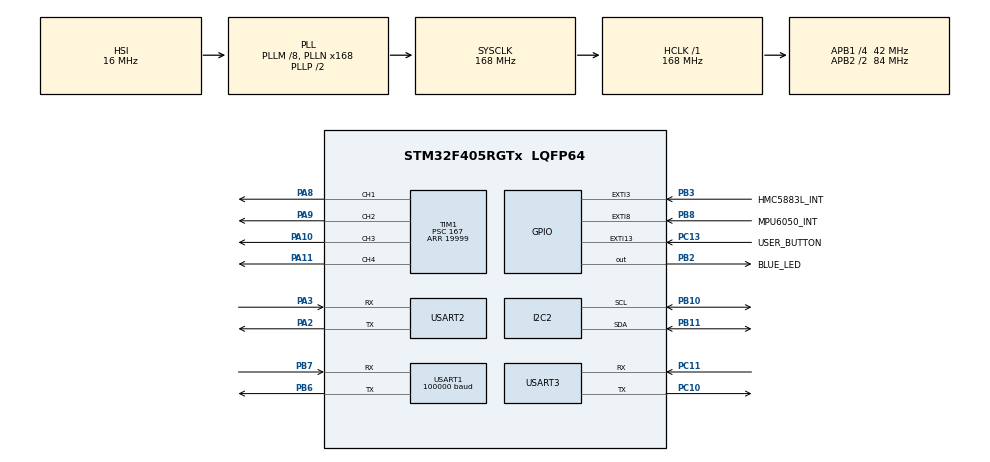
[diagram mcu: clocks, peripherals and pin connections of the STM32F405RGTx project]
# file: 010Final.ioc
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Dma.Request0=USART1_RX
Dma.USART1_RX.0.Direction=DMA_PERIPH_TO_MEMORY
Dma.USART1_RX.0.FIFOMode=DMA_FIFOMODE_DISABLE
Dma.USART1_RX.0.Instance=DMA2_Stream2
Dma.USART1_RX.0.MemDataAlignment=DMA_MDATAALIGN_BYTE
Dma.USART1_RX.0.MemInc=DMA_MINC_ENABLE
Dma.USART1_RX.0.Mode=DMA_NORMAL
Dma.USART1_RX.0.PeriphDataAlignment=DMA_PDATAALIGN_BYTE
Dma.USART1_RX.0.PeriphInc=DMA_PINC_DISABLE
Dma.USART1_RX.0.Priority=DMA_PRIORITY_HIGH
Mcu.Family=STM32F4
Mcu.Name=STM32F405RGTx
Mcu.Package=LQFP64
NVIC.DMA2_Stream2_IRQn=true\:0\:0\:false\:false\:true\:false\:true\:true
NVIC.EXTI15_10_IRQn=true\:3\:0\:true\:false\:true\:true\:true\:true
NVIC.EXTI9_5_IRQn=true\:2\:0\:true\:false\:true\:true\:true\:true
NVIC.PriorityGroup=NVIC_PRIORITYGROUP_4
NVIC.USART1_IRQn=true\:2\:0\:true\:false\:true\:true\:true\:true
NVIC.USART2_IRQn=true\:1\:0\:true\:false\:true\:true\:true\:true
PA10.Signal=S_TIM1_CH3
PA11.Signal=S_TIM1_CH4
PA13.Mode=Serial_Wire
PA13.Signal=SYS_JTMS-SWDIO
PA14.Mode=Serial_Wire
PA14.Signal=SYS_JTCK-SWCLK
PA2.Mode=Asynchronous
PA2.Signal=USART2_TX
PA3.Mode=Asynchronous
PA3.Signal=USART2_RX
PA8.Signal=S_TIM1_CH1
PA9.Signal=S_TIM1_CH2
PB10.Mode=I2C
PB10.Signal=I2C2_SCL
PB11.Mode=I2C
PB11.Signal=I2C2_SDA
PB2.GPIO_Label=BLUE_LED
PB2.PinState=GPIO_PIN_RESET
PB2.Signal=GPIO_Output
PB3.GPIO_Label=HMC5883L_INT
PB3.Signal=GPXTI3
PB6.Mode=Asynchronous
PB6.Signal=USART1_TX
PB7.Mode=Asynchronous
PB7.Signal=USART1_RX
PB8.GPIO_Label=MPU6050_INT
PB8.GPIO_PuPd=GPIO_PULLDOWN
PB8.Signal=GPXTI8
PC10.Mode=Asynchronous
PC10.Signal=USART3_TX
PC11.Mode=Asynchronous
PC11.Signal=USART3_RX
PC13-ANTI_TAMP.GPIO_Label=USER_BUTTON
PC13-ANTI_TAMP.GPIO_PuPd=GPIO_PULLDOWN
PC13-ANTI_TAMP.Signal=GPXTI13
PC14-OSC32_IN.Mode=LSE-External-Oscillator
PC14-OSC32_IN.Signal=RCC_OSC32_IN
PC15-OSC32_OUT.Mode=LSE-External-Oscillator
PC15-OSC32_OUT.Signal=RCC_OSC32_OUT
PH0-OSC_IN.Mode=HSE-External-Oscillator
PH0-OSC_IN.Signal=RCC_OSC_IN
PH1-OSC_OUT.Mode=HSE-External-Oscillator
PH1-OSC_OUT.Signal=RCC_OSC_OUT
ProjectManager.HeapSize=0x200
ProjectManager.StackSize=0x400
ProjectManager.TargetToolchain=STM32CubeIDE
RCC.48MHZClocksFreq_Value=84000000
RCC.AHBFreq_Value=168000000
RCC.APB1CLKDivider=RCC_HCLK_DIV4
RCC.APB1Freq_Value=42000000
RCC.APB1TimFreq_Value=84000000
RCC.APB2CLKDivider=RCC_HCLK_DIV2
RCC.APB2Freq_Value=84000000
RCC.APB2TimFreq_Value=168000000
RCC.CortexFreq_Value=168000000
RCC.HCLKFreq_Value=168000000
RCC.HSE_VALUE=8000000
RCC.HSI_VALUE=16000000
RCC.PLLM=8
RCC.PLLN=168
RCC.SYSCLKFreq_VALUE=168000000
RCC.SYSCLKSource=RCC_SYSCLKSOURCE_PLLCLK
RCC.VCOOutputFreq_Value=336000000
SH.S_TIM1_CH1.0=TIM1_CH1,PWM Generation1 CH1
SH.S_TIM1_CH2.0=TIM1_CH2,PWM Generation2 CH2
SH.S_TIM1_CH3.0=TIM1_CH3,PWM Generation3 CH3
SH.S_TIM1_CH4.0=TIM1_CH4,PWM Generation4 CH4
TIM1.AutoReloadPreload=TIM_AUTORELOAD_PRELOAD_ENABLE
TIM1.Channel-PWM\ Generation1\ CH1=TIM_CHANNEL_1
TIM1.Channel-PWM\ Generation2\ CH2=TIM_CHANNEL_2
TIM1.Channel-PWM\ Generation3\ CH3=TIM_CHANNEL_3
TIM1.Channel-PWM\ Generation4\ CH4=TIM_CHANNEL_4
TIM1.Period=19999
TIM1.Prescaler=167
TIM3.Period=999
TIM3.Prescaler=83
USART1.BaudRate=100000
USART1.Mode=MODE_RX
USART1.Parity=PARITY_EVEN
USART1.StopBits=STOPBITS_2
USART1.VirtualMode=VM_ASYNC
USART1.WordLength=WORDLENGTH_9B
USART2.VirtualMode=VM_ASYNC
USART3.VirtualMode=VM_ASYNC
VP_TIM1_VS_ClockSourceINT.Mode=Internal
VP_TIM3_VS_ClockSourceINT.Mode=Internal
board=custom

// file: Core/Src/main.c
/* USER CODE BEGIN Header */
/**
  ******************************************************************************
  * @file           : main.c
  * @brief          : Main program body
  ******************************************************************************
  * @attention
  *
  * Copyright (c) 2026 STMicroelectronics.
  * All rights reserved.
  *
  * This software is licensed under terms that can be found in the LICENSE file
  * in the root directory of this software component.
  * If no LICENSE file comes with this software, it is provided AS-IS.
  *
  ******************************************************************************
  */
/* USER CODE END Header */
#include "main.h"

/* USER CODE BEGIN Includes */

#include "MPU6050.h"
#include "kalman.h"
#include "SBUS.h"
#include "ESC.h"
#include "Motor.h"
#include "PID.h"
#include "rate_control.h"
#include "drone.h"
//#include "app_callback.h"

/* USER CODE END Includes */

/* USER CODE BEGIN PTD */

//#define ESC_CALIB
#define PID_SETTING
#define UART2_RX_BUFFER_SIZE 32
/* USER CODE END PTD */

I2C_HandleTypeDef hi2c2;

TIM_HandleTypeDef htim1;
TIM_HandleTypeDef htim3;

UART_HandleTypeDef huart1;
UART_HandleTypeDef huart2;
UART_HandleTypeDef huart3;
DMA_HandleTypeDef hdma_usart1_rx;

/* USER CODE BEGIN PV */

/*======================= MPU6050 global variables ================== */
int32_t raw_gyroscope_data[3];
MPU6050_Handle_t	MPU6050_handle;

/*=======================  SBUS global variables ==================== */
uint8_t SBUS_raw_data_rx[SBUS_FRAME_LEN_BYTE];
uint16_t channel[SBUS_CHANNEL_NUM];
RC_command_t rc_command;

/*=======================  Motor global variables ====================*/
MOTOR_Handle_t motor_handle[4];

#ifdef ESC_CALIB
Motor_ID_t motor_id;
uint8_t switch_motor_flag = 0;
uint32_t pwm_set;
#endif

/*======================= generic global variables ===================*/
Drone_handle_t	drone_handle;
PID_parameter_t pid_parameter_pitch;
PID_parameter_t pid_parameter_roll;
PID_parameter_t pid_parameter_yaw;

PID_input_t		pid_input;
uint8_t 		receive_flag;

uint8_t uart2_rx_byte;
uint8_t pid_setting_done;
char uart2_rx_buffer[UART2_RX_BUFFER_SIZE];
uint8_t uart2_rx_index = 0;

PID_parameter_t *current_pid = NULL;

/* USER CODE END PV */

void SystemClock_Config(void);
static void MX_GPIO_Init(void);
static void MX_DMA_Init(void);
static void MX_I2C2_Init(void);
static void MX_TIM1_Init(void);
static void MX_USART1_UART_Init(void);
static void MX_USART2_UART_Init(void);
static void MX_USART3_UART_Init(void);
static void MX_TIM3_Init(void);
/* USER CODE BEGIN PFP */
void mprint(const char *fmt, ...)
{
    char buffer[256];

    va_list args;
    va_start(args, fmt);

    vsnprintf(buffer, sizeof(buffer), fmt, args);

    HAL_UART_Transmit(&huart2,(uint8_t *)buffer, strlen(buffer),HAL_MAX_DELAY);

    va_end(args);
}

void PID_setting(void)
{
    uart2_rx_index = 0;
    pid_setting_done = 0;

    current_pid = &pid_parameter_pitch;
	LOG("======================PID setting===================\n");

    LOG("Pitch P I D: ");

    HAL_UART_Receive_IT(&huart2,&uart2_rx_byte,1);
}
/* USER CODE END PFP */

int main(void)
{

  /* MCU Configuration--------------------------------------------------------*/

  /* Reset of all peripherals, Initializes the Flash interface and the Systick. */
  HAL_Init();

  /* Configure the system clock */
  SystemClock_Config();

  /* Initialize all configured peripherals */
  MX_GPIO_Init();
  MX_DMA_Init();
  MX_I2C2_Init();
  MX_TIM1_Init();
  MX_USART1_UART_Init();
  MX_USART2_UART_Init();
  MX_USART3_UART_Init();
  MX_TIM3_Init();
  /* USER CODE BEGIN 2 */
  /*============================= Drone initialize ==========================*/

  drone_init(&drone_handle, motor_handle, &MPU6050_handle);

  /*=========================== Motor initialize   ==========================*/

  motor_init(motor_handle, &htim1);

  /*=========================== MPU6050 initialize ==========================*/

  if(mpu6050_init(&MPU6050_handle, &hi2c2 ,MPU6050_ADDR) != MPU6050_OK)
  {
	  drone_handle.status = DRONE_ERROR;
	  drone_handle.drone_armed = false;
	  drone_handle.error_code = ERROR_MPU_INIT;
	  Error_Handler();
  }
  /*============================= ESC initialize ============================*/

  if(esc_init(&htim1) != ESC_OK)
  {
	  drone_handle.status = DRONE_ERROR;
	  drone_handle.drone_armed = false;
	  drone_handle.error_code = ERROR_ESC_INIT;
	  Error_Handler();
  }

  /*============================= Drone configurate ==========================*/
 drone_config(&drone_handle);

  /*============================= PID setting ================================*/

  pid_parameter_pitch.p = 0.001f;
  pid_parameter_pitch.i = 0.001f;
  pid_parameter_pitch.d	= 0.0001f;

  pid_parameter_roll.p = 0.001f;
  pid_parameter_roll.i = 0.001f;
  pid_parameter_roll.d	= 0.0001f;

  pid_parameter_yaw.p = 0.001f;
  pid_parameter_yaw.i = 0.001f;
  pid_parameter_yaw.d	= 0.0f;

  static uint32_t current_tick;
  current_tick = HAL_GetTick();
  LOG("press user button to trigger PID setting \n");
  LOG("timeout: 5s\n");
  while((HAL_GetTick() - current_tick) <= 5000 )
  {
	  if(HAL_GPIO_ReadPin(GPIOC, GPIO_PIN_13)==GPIO_PIN_SET)
		  {
		  LOG("PID setting mode required detected!\n ");

		  PID_setting();
		  while(current_pid!=NULL);
		  }
  }
LOG("\nPID parameter:\n");
LOG("Pitch: %0.3f %0.3f %0.3f \n",pid_parameter_pitch.p,pid_parameter_pitch.i ,pid_parameter_pitch.d);
LOG("Roll : %0.3f %0.3f %0.3f \n",pid_parameter_roll.p,pid_parameter_roll.i ,pid_parameter_roll.d);
LOG("Yaw  : %0.3f %0.3f %0.3f \n",pid_parameter_yaw.p,pid_parameter_yaw.i ,pid_parameter_yaw.d);

for(uint8_t i = 0; i<= 2; i++)
{
	pid_input.prev_Iterm[i] = 0;
	pid_input.rate_error[i] = 0;
	pid_input.prev_rate_error[i] = 0;
}

  /*============================= SBUS initialize ============================*/

  __disable_irq();
  if(SBUS_init(&huart1, SBUS_raw_data_rx)!= SBUS_OK)
  {
	  __enable_irq();
	  drone_handle.status = DRONE_ERROR;
	  drone_handle.drone_armed = false;
	  drone_handle.error_code = ERROR_SBUS_INIT;
	  Error_Handler();
  }
  __enable_irq();

  drone_handle.pre_status = drone_handle.status;
  drone_handle.status = DRONE_INIT_SUCCESS;

#ifdef ESC_CALIB
  motor_id = MOTOR_1;
  mprint("motor %d in calibration\n", (motor_id+1));
#endif

  /* USER CODE END 2 */

  /* Infinite loop */
  /* USER CODE BEGIN WHILE */
  while (1)
  {

		  switch (drone_handle.status)
	{
		  case(DRONE_INIT):
				  break;

		  case(DRONE_INIT_SUCCESS):
			  if(receive_flag)
			  {
				  receive_flag = 0;
				  drone_check_arm_signal(&drone_handle);
				  break;
			  }
		  	  break;
		  case(DRONE_ARMED):
				  drone_armed(&drone_handle);
			break;
		  case(DRONE_READY_TO_FLY):
				  drone_is_ready_to_fly(&drone_handle);
				  current_tick = HAL_GetTick();
		  case(DRONE_FLYING):
				  if(HAL_GetTick() - current_tick > 4)
				  {
					  current_tick = HAL_GetTick();
					  drone_flying_loop(&drone_handle);
				  }
			break;
		  case(DRONE_ERROR):
		  case(DRONE_FAILSAFE):
			break;
	  }
    /* USER CODE END WHILE */

	  }
}

void SystemClock_Config(void)
{
  RCC_OscInitTypeDef RCC_OscInitStruct = {0};
  RCC_ClkInitTypeDef RCC_ClkInitStruct = {0};

  /** Configure the main internal regulator output voltage
  */
  __HAL_RCC_PWR_CLK_ENABLE();
  __HAL_PWR_VOLTAGESCALING_CONFIG(PWR_REGULATOR_VOLTAGE_SCALE1);

  /** Initializes the RCC Oscillators according to the specified parameters
  * in the RCC_OscInitTypeDef structure.
  */
  RCC_OscInitStruct.OscillatorType = RCC_OSCILLATORTYPE_HSI;
  RCC_OscInitStruct.HSIState = RCC_HSI_ON;
  RCC_OscInitStruct.HSICalibrationValue = RCC_HSICALIBRATION_DEFAULT;
  RCC_OscInitStruct.PLL.PLLState = RCC_PLL_ON;
  RCC_OscInitStruct.PLL.PLLSource = RCC_PLLSOURCE_HSI;
  RCC_OscInitStruct.PLL.PLLM = 8;
  RCC_OscInitStruct.PLL.PLLN = 168;
  RCC_OscInitStruct.PLL.PLLP = RCC_PLLP_DIV2;
  RCC_OscInitStruct.PLL.PLLQ = 4;
  if (HAL_RCC_OscConfig(&RCC_OscInitStruct) != HAL_OK)
  {
    Error_Handler();
  }

  /** Initializes the CPU, AHB and APB buses clocks
  */
  RCC_ClkInitStruct.ClockType = RCC_CLOCKTYPE_HCLK|RCC_CLOCKTYPE_SYSCLK
                              |RCC_CLOCKTYPE_PCLK1|RCC_CLOCKTYPE_PCLK2;
  RCC_ClkInitStruct.SYSCLKSource = RCC_SYSCLKSOURCE_PLLCLK;
  RCC_ClkInitStruct.AHBCLKDivider = RCC_SYSCLK_DIV1;
  RCC_ClkInitStruct.APB1CLKDivider = RCC_HCLK_DIV4;
  RCC_ClkInitStruct.APB2CLKDivider = RCC_HCLK_DIV2;

  if (HAL_RCC_ClockConfig(&RCC_ClkInitStruct, FLASH_LATENCY_5) != HAL_OK)
  {
    Error_Handler();
  }
}

static void MX_I2C2_Init(void)
{

  hi2c2.Instance = I2C2;
  hi2c2.Init.ClockSpeed = 100000;
  hi2c2.Init.DutyCycle = I2C_DUTYCYCLE_2;
  hi2c2.Init.OwnAddress1 = 0;
  hi2c2.Init.AddressingMode = I2C_ADDRESSINGMODE_7BIT;
  hi2c2.Init.DualAddressMode = I2C_DUALADDRESS_DISABLE;
  hi2c2.Init.OwnAddress2 = 0;
  hi2c2.Init.GeneralCallMode = I2C_GENERALCALL_DISABLE;
  hi2c2.Init.NoStretchMode = I2C_NOSTRETCH_DISABLE;
  if (HAL_I2C_Init(&hi2c2) != HAL_OK)
  {
    Error_Handler();
  }

}

static void MX_TIM1_Init(void)
{

  TIM_ClockConfigTypeDef sClockSourceConfig = {0};
  TIM_MasterConfigTypeDef sMasterConfig = {0};
  TIM_OC_InitTypeDef sConfigOC = {0};
  TIM_BreakDeadTimeConfigTypeDef sBreakDeadTimeConfig = {0};

  htim1.Instance = TIM1;
  htim1.Init.Prescaler = 167;
  htim1.Init.CounterMode = TIM_COUNTERMODE_UP;
  htim1.Init.Period = 19999;
  htim1.Init.ClockDivision = TIM_CLOCKDIVISION_DIV1;
  htim1.Init.RepetitionCounter = 0;
  htim1.Init.AutoReloadPreload = TIM_AUTORELOAD_PRELOAD_ENABLE;
  if (HAL_TIM_Base_Init(&htim1) != HAL_OK)
  {
    Error_Handler();
  }
  sClockSourceConfig.ClockSource = TIM_CLOCKSOURCE_INTERNAL;
  if (HAL_TIM_ConfigClockSource(&htim1, &sClockSourceConfig) != HAL_OK)
  {
    Error_Handler();
  }
  if (HAL_TIM_PWM_Init(&htim1) != HAL_OK)
  {
    Error_Handler();
  }
  sMasterConfig.MasterOutputTrigger = TIM_TRGO_RESET;
  sMasterConfig.MasterSlaveMode = TIM_MASTERSLAVEMODE_DISABLE;
  if (HAL_TIMEx_MasterConfigSynchronization(&htim1, &sMasterConfig) != HAL_OK)
  {
    Error_Handler();
  }
  sConfigOC.OCMode = TIM_OCMODE_PWM1;
  sConfigOC.Pulse = 0;
  sConfigOC.OCPolarity = TIM_OCPOLARITY_HIGH;
  sConfigOC.OCNPolarity = TIM_OCNPOLARITY_HIGH;
  sConfigOC.OCFastMode = TIM_OCFAST_DISABLE;
  sConfigOC.OCIdleState = TIM_OCIDLESTATE_RESET;
  sConfigOC.OCNIdleState = TIM_OCNIDLESTATE_RESET;
  if (HAL_TIM_PWM_ConfigChannel(&htim1, &sConfigOC, TIM_CHANNEL_1) != HAL_OK)
  {
    Error_Handler();
  }
  if (HAL_TIM_PWM_ConfigChannel(&htim1, &sConfigOC, TIM_CHANNEL_2) != HAL_OK)
  {
    Error_Handler();
  }
  if (HAL_TIM_PWM_ConfigChannel(&htim1, &sConfigOC, TIM_CHANNEL_3) != HAL_OK)
  {
    Error_Handler();
  }
  if (HAL_TIM_PWM_ConfigChannel(&htim1, &sConfigOC, TIM_CHANNEL_4) != HAL_OK)
  {
    Error_Handler();
  }
  sBreakDeadTimeConfig.OffStateRunMode = TIM_OSSR_DISABLE;
  sBreakDeadTimeConfig.OffStateIDLEMode = TIM_OSSI_DISABLE;
  sBreakDeadTimeConfig.LockLevel = TIM_LOCKLEVEL_OFF;
  sBreakDeadTimeConfig.DeadTime = 0;
  sBreakDeadTimeConfig.BreakState = TIM_BREAK_DISABLE;
  sBreakDeadTimeConfig.BreakPolarity = TIM_BREAKPOLARITY_HIGH;
  sBreakDeadTimeConfig.AutomaticOutput = TIM_AUTOMATICOUTPUT_DISABLE;
  if (HAL_TIMEx_ConfigBreakDeadTime(&htim1, &sBreakDeadTimeConfig) != HAL_OK)
  {
    Error_Handler();
  }
  HAL_TIM_MspPostInit(&htim1);

}

static void MX_TIM3_Init(void)
{

  TIM_ClockConfigTypeDef sClockSourceConfig = {0};
  TIM_MasterConfigTypeDef sMasterConfig = {0};

  htim3.Instance = TIM3;
  htim3.Init.Prescaler = 83;
  htim3.Init.CounterMode = TIM_COUNTERMODE_UP;
  htim3.Init.Period = 999;
  htim3.Init.ClockDivision = TIM_CLOCKDIVISION_DIV1;
  htim3.Init.AutoReloadPreload = TIM_AUTORELOAD_PRELOAD_DISABLE;
  if (HAL_TIM_Base_Init(&htim3) != HAL_OK)
  {
    Error_Handler();
  }
  sClockSourceConfig.ClockSource = TIM_CLOCKSOURCE_INTERNAL;
  if (HAL_TIM_ConfigClockSource(&htim3, &sClockSourceConfig) != HAL_OK)
  {
    Error_Handler();
  }
  sMasterConfig.MasterOutputTrigger = TIM_TRGO_RESET;
  sMasterConfig.MasterSlaveMode = TIM_MASTERSLAVEMODE_DISABLE;
  if (HAL_TIMEx_MasterConfigSynchronization(&htim3, &sMasterConfig) != HAL_OK)
  {
    Error_Handler();
  }

}

static void MX_USART1_UART_Init(void)
{

  huart1.Instance = USART1;
  huart1.Init.BaudRate = 100000;
  huart1.Init.WordLength = UART_WORDLENGTH_9B;
  huart1.Init.StopBits = UART_STOPBITS_2;
  huart1.Init.Parity = UART_PARITY_EVEN;
  huart1.Init.Mode = UART_MODE_RX;
  huart1.Init.HwFlowCtl = UART_HWCONTROL_NONE;
  huart1.Init.OverSampling = UART_OVERSAMPLING_16;
  if (HAL_UART_Init(&huart1) != HAL_OK)
  {
    Error_Handler();
  }

}

static void MX_USART2_UART_Init(void)
{

  huart2.Instance = USART2;
  huart2.Init.BaudRate = 115200;
  huart2.Init.WordLength = UART_WORDLENGTH_8B;
  huart2.Init.StopBits = UART_STOPBITS_1;
  huart2.Init.Parity = UART_PARITY_NONE;
  huart2.Init.Mode = UART_MODE_TX_RX;
  huart2.Init.HwFlowCtl = UART_HWCONTROL_NONE;
  huart2.Init.OverSampling = UART_OVERSAMPLING_16;
  if (HAL_UART_Init(&huart2) != HAL_OK)
  {
    Error_Handler();
  }

}

static void MX_USART3_UART_Init(void)
{

  huart3.Instance = USART3;
  huart3.Init.BaudRate = 115200;
  huart3.Init.WordLength = UART_WORDLENGTH_8B;
  huart3.Init.StopBits = UART_STOPBITS_1;
  huart3.Init.Parity = UART_PARITY_NONE;
  huart3.Init.Mode = UART_MODE_TX_RX;
  huart3.Init.HwFlowCtl = UART_HWCONTROL_NONE;
  huart3.Init.OverSampling = UART_OVERSAMPLING_16;
  if (HAL_UART_Init(&huart3) != HAL_OK)
  {
    Error_Handler();
  }

}

static void MX_DMA_Init(void)
{

  /* DMA controller clock enable */
  __HAL_RCC_DMA2_CLK_ENABLE();

  /* DMA interrupt init */
  /* DMA2_Stream2_IRQn interrupt configuration */
  HAL_NVIC_SetPriority(DMA2_Stream2_IRQn, 0, 0);
  HAL_NVIC_EnableIRQ(DMA2_Stream2_IRQn);

}

static void MX_GPIO_Init(void)
{
  GPIO_InitTypeDef GPIO_InitStruct = {0};

  /* GPIO Ports Clock Enable */
  __HAL_RCC_GPIOC_CLK_ENABLE();
  __HAL_RCC_GPIOH_CLK_ENABLE();
  __HAL_RCC_GPIOA_CLK_ENABLE();
  __HAL_RCC_GPIOB_CLK_ENABLE();

  /*Configure GPIO pin Output Level */
  HAL_GPIO_WritePin(BLUE_LED_GPIO_Port, BLUE_LED_Pin, GPIO_PIN_RESET);

  /*Configure GPIO pin : USER_BUTTON_Pin */
  GPIO_InitStruct.Pin = USER_BUTTON_Pin;
  GPIO_InitStruct.Mode = GPIO_MODE_IT_RISING;
  GPIO_InitStruct.Pull = GPIO_PULLDOWN;
  HAL_GPIO_Init(USER_BUTTON_GPIO_Port, &GPIO_InitStruct);

  /*Configure GPIO pin : BLUE_LED_Pin */
  GPIO_InitStruct.Pin = BLUE_LED_Pin;
  GPIO_InitStruct.Mode = GPIO_MODE_OUTPUT_PP;
  GPIO_InitStruct.Pull = GPIO_NOPULL;
  GPIO_InitStruct.Speed = GPIO_SPEED_FREQ_LOW;
  HAL_GPIO_Init(BLUE_LED_GPIO_Port, &GPIO_InitStruct);

  /*Configure GPIO pin : HMC5883L_INT_Pin */
  GPIO_InitStruct.Pin = HMC5883L_INT_Pin;
  GPIO_InitStruct.Mode = GPIO_MODE_IT_RISING;
  GPIO_InitStruct.Pull = GPIO_NOPULL;
  HAL_GPIO_Init(HMC5883L_INT_GPIO_Port, &GPIO_InitStruct);

  /*Configure GPIO pin : MPU6050_INT_Pin */
  GPIO_InitStruct.Pin = MPU6050_INT_Pin;
  GPIO_InitStruct.Mode = GPIO_MODE_IT_RISING;
  GPIO_InitStruct.Pull = GPIO_PULLDOWN;
  HAL_GPIO_Init(MPU6050_INT_GPIO_Port, &GPIO_InitStruct);

  /* EXTI interrupt init*/
  HAL_NVIC_SetPriority(EXTI9_5_IRQn, 2, 0);
  HAL_NVIC_EnableIRQ(EXTI9_5_IRQn);

  HAL_NVIC_SetPriority(EXTI15_10_IRQn, 3, 0);
  HAL_NVIC_EnableIRQ(EXTI15_10_IRQn);

}

/* USER CODE BEGIN 4 */

void HAL_UART_RxCpltCallback(UART_HandleTypeDef *huart)
{
    if (huart->Instance == USART1)
    {
        receive_flag = 1;

        if (HAL_UART_Receive_DMA(huart,
                                 SBUS_raw_data_rx,
                                 sizeof(SBUS_raw_data_rx)) != HAL_OK)
        {
            drone_handle.error_code = ERROR_SBUS_INIT;
            Error_Handler();
        }
    }

    else if (huart->Instance == USART2)
    {
        /* ';' = ký tự kết thúc một dòng PID */
        if (uart2_rx_byte == ';')
        {
            /* Kết thúc chuỗi */
            uart2_rx_buffer[uart2_rx_index] = '\0';

            /* Chỉ parse nếu có dữ liệu */
            if (uart2_rx_index > 0 && current_pid != NULL)
            {
                parse_pid(uart2_rx_buffer,
                          &current_pid->p,
                          &current_pid->i,
                          &current_pid->d);

                /* Pitch -> Roll */
                if (current_pid == &pid_parameter_pitch)
                {
                    current_pid = &pid_parameter_roll;

                    LOG("\r\nRoll P I D: ");
                }

                /* Roll -> Yaw */
                else if (current_pid == &pid_parameter_roll)
                {
                    current_pid = &pid_parameter_yaw;

                    LOG("\r\nYaw P I D: ");
                }

                /* Yaw -> Done */
                else
                {
                    current_pid = NULL;

                    pid_setting_done = 1;

                    LOG("\r\nPID setting done\r\n");
                }
            }

            /* Reset buffer */
            uart2_rx_index = 0;
        }

        else
        {
            /* Lưu ký tự vào buffer */
            if (uart2_rx_index < UART2_RX_BUFFER_SIZE - 1)
            {
                uart2_rx_buffer[uart2_rx_index++] = uart2_rx_byte;
            }
        }

        /* Tiếp tục nhận byte tiếp theo */
        HAL_UART_Receive_IT(&huart2,
                            &uart2_rx_byte,
                            1);
    }
}

#ifdef ESC_CALIB
void HAL_GPIO_EXTI_Callback(uint16_t GPIO_Pin)
{
	if(GPIO_Pin == GPIO_PIN_13)
	{
		switch_motor_flag = 1;
	}
}
#endif

/* USER CODE END 4 */

void Error_Handler(void)
{
  /* USER CODE BEGIN Error_Handler_Debug */
  /* User can add his own implementation to report the HAL error return state */
  __disable_irq();
  while (1)
  {
	  HAL_GPIO_TogglePin(GPIOB, GPIO_PIN_2);
	  switch(drone_handle.error_code)
	  {
	  case(ERROR_TIMEOUT):
			  mprint("ERROR TIMEOUT\n");
			  break;
	  case(ERROR_ESC_INIT):
			  mprint("ERROR ESC INIT\n");
			  break;
	  case(ERROR_MPU_INIT):
			  mprint("ERROR MPU INIT\n");
			  break;
	  case(ERROR_MPU_UNSTABLE):
			  mprint("ERROR MPU UNSTABLE\n");
			  break;
	  case(ERROR_SBUS_INIT):
			  mprint("ERROR SBUS INIT\n");
			  break;
	  case(ERROR_NONE):
			  break;
	  default:
		  break;
	  }
	  uint32_t i = 0x00ffffff;
	  while(i--);
  }
  /* USER CODE END Error_Handler_Debug */
}
